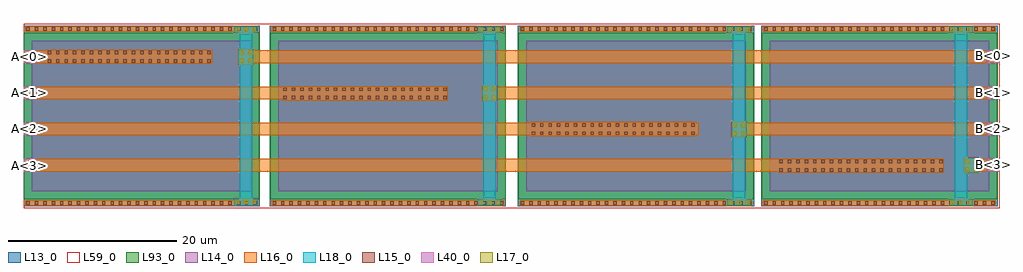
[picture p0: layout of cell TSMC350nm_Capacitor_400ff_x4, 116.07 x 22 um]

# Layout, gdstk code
import gdstk
lib = gdstk.Library(unit=1e-6, precision=1e-09)
def R(c, l, rs):  # rectangles x0, y0, x1, y1
    for r in rs: c.add(gdstk.rectangle(r[:2], r[2:], *l))
def A(c, l, x, y, w, h, nx, ny, dx, dy):  # array of equal rectangles
    R(c, l, [(x+i*dx, y+j*dy, x+i*dx+w, y+j*dy+h) for i in range(nx) for j in range(ny)])
L13_0 = (13, 0)
L14_0 = (14, 0)
L15_0 = (15, 0)
L16_0 = (16, 0)
L17_0 = (17, 0)
L18_0 = (18, 0)
L40_0 = (40, 0)
L59_0 = (59, 0)
L93_0 = (93, 0)

m2_m1_cdns_746573607970 = lib.new_cell('M2_M1_CDNS_746573607970')
R(m2_m1_cdns_746573607970, L16_0, [(-1.45,-0.45,1.45,0.45)])
A(m2_m1_cdns_746573607970, L17_0, -1.25, -0.25, 0.5, 0.5, 3, 1, 1, 0)
R(m2_m1_cdns_746573607970, L18_0, [(-1.4,-0.4,1.4,0.4)])

m1_poly1_cdns_7465736079 = lib.new_cell('M1_POLY1_CDNS_746573607971')
R(m1_poly1_cdns_7465736079, L13_0, [(-13.9,-0.4,13.9,0.4)])
A(m1_poly1_cdns_7465736079, L15_0, -13.7, -0.2, 0.4, 0.4, 28, 1, 1, 0)
R(m1_poly1_cdns_7465736079, L16_0, [(-13.85,-0.35,13.85,0.35)])

m2_m1_cdns_746573607972 = lib.new_cell('M2_M1_CDNS_746573607972')
R(m2_m1_cdns_746573607972, L16_0, [(-0.95,-0.95,0.95,0.95)])
R(m2_m1_cdns_746573607972, L17_0, [(-0.75,-0.75,-0.25,-0.25), (0.25,-0.75,0.75,-0.25), (-0.75,0.25,-0.25,0.75), (0.25,0.25,0.75,0.75)])
R(m2_m1_cdns_746573607972, L18_0, [(-0.9,-0.9,0.9,0.9)])

c_m1_poly1_cdns_7465736079 = lib.new_cell('M1_POLY1_CDNS_746573607973')
R(c_m1_poly1_cdns_7465736079, L13_0, [(-9.9,-0.9,9.9,0.9)])
A(c_m1_poly1_cdns_7465736079, L15_0, -9.7, -0.7, 0.4, 0.4, 20, 2, 1, 1)
R(c_m1_poly1_cdns_7465736079, L16_0, [(-9.85,-0.85,9.85,0.85)])

tsmc350nm_capacitor_400f = lib.new_cell('TSMC350nm_Capacitor_400ff_x4')
R(tsmc350nm_capacitor_400f, L13_0, [(0,0.25,28.1,1.05), (29.28,0.25,57.38,1.05), (58.79,0.25,86.89,1.05), (87.74,0.25,115.84,1.05), (0,1.05,28.1,20.95), (29.28,1.05,57.38,20.95), (58.79,1.05,86.89,20.95), (87.74,1.05,115.84,20.95), (0,20.95,28.1,21.75), (29.28,20.95,57.38,21.75), (58.79,20.95,86.89,21.75), (87.74,20.95,115.84,21.75)])
R(tsmc350nm_capacitor_400f, L14_0, [(1,2.05,27.1,19.95), (30.28,2.05,56.38,19.95), (59.79,2.05,85.89,19.95), (88.74,2.05,114.84,19.95)])
A(tsmc350nm_capacitor_400f, L40_0, 0, 4.39, 1.5, 1.5, 1, 4, 0, 4.3)
A(tsmc350nm_capacitor_400f, L40_0, 114.57, 4.39, 1.5, 1.5, 1, 4, 0, 4.3)
R(tsmc350nm_capacitor_400f, L59_0, [(0,0,116.07,22)])
R(tsmc350nm_capacitor_400f, L93_0, [(0.05,1.1,28.05,20.9), (29.33,1.1,57.33,20.9), (58.84,1.1,86.84,20.9), (87.79,1.1,115.79,20.9)])
tsmc350nm_capacitor_400f.add(gdstk.FlexPath([(112.22,5.14),(116.07,5.14)], 1.5, ends="flush", simple_path=True, layer=16, datatype=0))  # L16_0
tsmc350nm_capacitor_400f.add(gdstk.FlexPath([(84.49,9.44),(116.07,9.44)], 1.5, ends="flush", simple_path=True, layer=16, datatype=0))  # L16_0
tsmc350nm_capacitor_400f.add(gdstk.FlexPath([(54.77,13.74),(116.07,13.74)], 1.5, ends="flush", simple_path=True, layer=16, datatype=0))  # L16_0
tsmc350nm_capacitor_400f.add(gdstk.FlexPath([(25.7,18.04),(116.07,18.04)], 1.5, ends="flush", simple_path=True, layer=16, datatype=0))  # L16_0
tsmc350nm_capacitor_400f.add(gdstk.FlexPath([(0,5.14),(108.9,5.14)], 1.5, ends="flush", simple_path=True, layer=16, datatype=0))  # L16_0
tsmc350nm_capacitor_400f.add(gdstk.FlexPath([(0,18.04),(21.58,18.04)], 1.5, ends="flush", simple_path=True, layer=16, datatype=0))  # L16_0
tsmc350nm_capacitor_400f.add(gdstk.FlexPath([(0,13.74),(50.23,13.74)], 1.5, ends="flush", simple_path=True, layer=16, datatype=0))  # L16_0
tsmc350nm_capacitor_400f.add(gdstk.FlexPath([(0,9.44),(80.32,9.44)], 1.5, ends="flush", simple_path=True, layer=16, datatype=0))  # L16_0
tsmc350nm_capacitor_400f.add(gdstk.FlexPath([(111.47,21.3),(111.47,0.73)], 1.5, ends="flush", simple_path=True, layer=18, datatype=0))  # L18_0
tsmc350nm_capacitor_400f.add(gdstk.FlexPath([(85.1,21.3),(85.1,0.73)], 1.5, ends="flush", simple_path=True, layer=18, datatype=0))  # L18_0
tsmc350nm_capacitor_400f.add(gdstk.FlexPath([(55.44,21.3),(55.44,0.73)], 1.5, ends="flush", simple_path=True, layer=18, datatype=0))  # L18_0
tsmc350nm_capacitor_400f.add(gdstk.FlexPath([(26.45,21.3),(26.45,0.73)], 1.5, ends="flush", simple_path=True, layer=18, datatype=0))  # L18_0
tsmc350nm_capacitor_400f.add(gdstk.Reference(m2_m1_cdns_746573607970, (111.47,0.7)))
tsmc350nm_capacitor_400f.add(gdstk.Reference(m2_m1_cdns_746573607970, (111.47,21.3)))
tsmc350nm_capacitor_400f.add(gdstk.Reference(m2_m1_cdns_746573607970, (85.1,0.7)))
tsmc350nm_capacitor_400f.add(gdstk.Reference(m2_m1_cdns_746573607970, (85.1,21.3)))
tsmc350nm_capacitor_400f.add(gdstk.Reference(m2_m1_cdns_746573607970, (55.44,0.7)))
tsmc350nm_capacitor_400f.add(gdstk.Reference(m2_m1_cdns_746573607970, (26.45,0.75)))
tsmc350nm_capacitor_400f.add(gdstk.Reference(m2_m1_cdns_746573607970, (26.45,21.3)))
tsmc350nm_capacitor_400f.add(gdstk.Reference(m2_m1_cdns_746573607970, (55.44,21.3)))
tsmc350nm_capacitor_400f.add(gdstk.Reference(m1_poly1_cdns_7465736079, (72.84,0.65)))
tsmc350nm_capacitor_400f.add(gdstk.Reference(m1_poly1_cdns_7465736079, (43.33,21.35)))
tsmc350nm_capacitor_400f.add(gdstk.Reference(m1_poly1_cdns_7465736079, (14.05,21.35)))
tsmc350nm_capacitor_400f.add(gdstk.Reference(m1_poly1_cdns_7465736079, (14.05,0.65)))
tsmc350nm_capacitor_400f.add(gdstk.Reference(m1_poly1_cdns_7465736079, (43.33,0.65)))
tsmc350nm_capacitor_400f.add(gdstk.Reference(m1_poly1_cdns_7465736079, (101.79,21.35)))
tsmc350nm_capacitor_400f.add(gdstk.Reference(m1_poly1_cdns_7465736079, (72.84,21.35)))
tsmc350nm_capacitor_400f.add(gdstk.Reference(m1_poly1_cdns_7465736079, (101.79,0.65)))
tsmc350nm_capacitor_400f.add(gdstk.Reference(m2_m1_cdns_746573607972, (112.74,5.13)))
tsmc350nm_capacitor_400f.add(gdstk.Reference(m2_m1_cdns_746573607972, (85.1,9.42)))
tsmc350nm_capacitor_400f.add(gdstk.Reference(m2_m1_cdns_746573607972, (55.44,13.73)))
tsmc350nm_capacitor_400f.add(gdstk.Reference(m2_m1_cdns_746573607972, (26.45,18.06)))
tsmc350nm_capacitor_400f.add(gdstk.Reference(c_m1_poly1_cdns_7465736079, (99.6,5.09)))
tsmc350nm_capacitor_400f.add(gdstk.Reference(c_m1_poly1_cdns_7465736079, (70.14,9.45)))
tsmc350nm_capacitor_400f.add(gdstk.Reference(c_m1_poly1_cdns_7465736079, (40.62,13.68)))
tsmc350nm_capacitor_400f.add(gdstk.Reference(c_m1_poly1_cdns_7465736079, (12.58,18.04)))
tsmc350nm_capacitor_400f.add(gdstk.Label('B<3>', (115.41,5.25), layer=40, texttype=0))
tsmc350nm_capacitor_400f.add(gdstk.Label('B<2>', (115.41,9.55), layer=40, texttype=0))
tsmc350nm_capacitor_400f.add(gdstk.Label('B<1>', (115.41,13.85), layer=40, texttype=0))
tsmc350nm_capacitor_400f.add(gdstk.Label('B<0>', (115.41,18.15), layer=40, texttype=0))
tsmc350nm_capacitor_400f.add(gdstk.Label('A<3>', (0.71,5.17), layer=40, texttype=0))
tsmc350nm_capacitor_400f.add(gdstk.Label('A<2>', (0.71,9.47), layer=40, texttype=0))
tsmc350nm_capacitor_400f.add(gdstk.Label('A<1>', (0.71,13.77), layer=40, texttype=0))
tsmc350nm_capacitor_400f.add(gdstk.Label('A<0>', (0.71,18.07), layer=40, texttype=0))

lib.write_gds('TSMC350nm_Capacitor_400ff_x4.gds')
